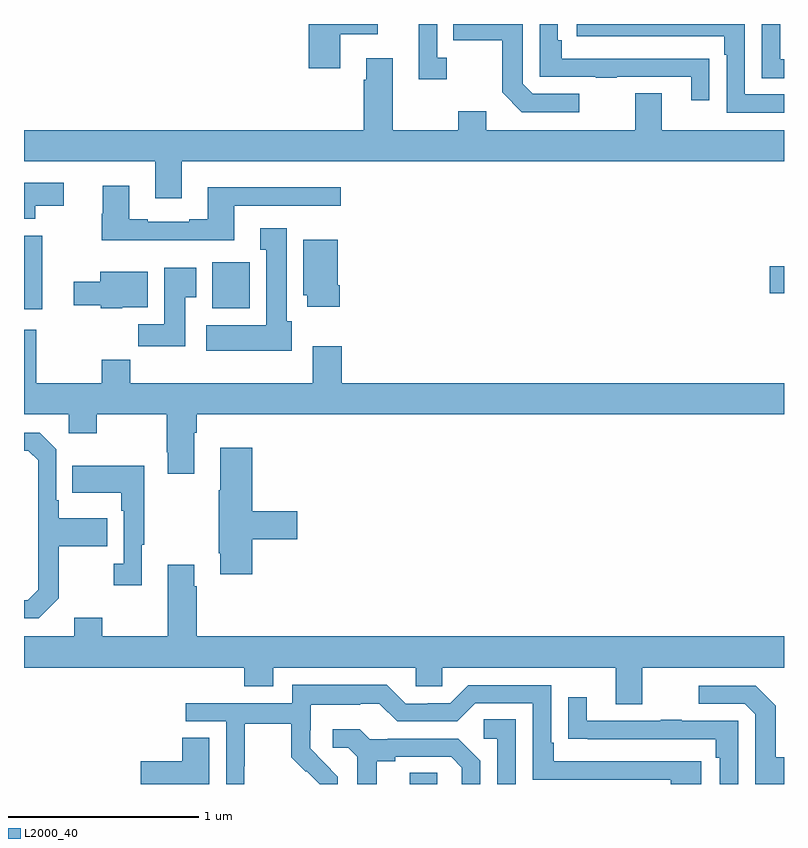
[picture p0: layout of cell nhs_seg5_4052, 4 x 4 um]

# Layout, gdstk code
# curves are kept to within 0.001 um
import gdstk
lib = gdstk.Library(unit=1e-6, precision=1e-09)
def R(c, l, rs):  # rectangles x0, y0, x1, y1
    for r in rs: c.add(gdstk.rectangle(r[:2], r[2:], *l))
def P(c, l, *ps):  # polygons
    for p in ps: c.add(gdstk.Polygon(p, *l))
L2000_40 = (2000, 40)

nhs_seg5_4052 = lib.new_cell('nhs_seg5_4052')
R(nhs_seg5_4052, L2000_40, [(351.029,870.799,351.174,870.857), (349,873.299,349.096,873.685), (349.991,873.302,350.188,873.544), (352.926,873.382,353,873.524)])
P(nhs_seg5_4052, L2000_40, [(353,874.428),(352.794,874.428),(352.794,874.799),(351.909,874.799),(351.909,874.734),(352.685,874.734),(352.685,874.637),(352.698,874.637),(352.698,874.332),(353,874.332)],
  [(351.922,874.431),(351.678,874.431),(351.624,874.485),(351.624,874.799),(351.259,874.799),(351.259,874.714),(351.516,874.714),(351.516,874.441),(351.621,874.335),(351.922,874.335)],
  [(350.665,874.745),(350.863,874.745),(350.863,874.799),(350.498,874.799),(350.498,874.566),(350.665,874.566)],
  [(351.226,874.622),(351.174,874.622),(351.174,874.799),(351.077,874.799),(351.077,874.509),(351.226,874.509)],
  [(353,874.614),(352.98,874.614),(352.98,874.799),(352.884,874.799),(352.884,874.513),(353,874.513)],
  [(352.607,874.616),(352.505,874.616),(352.505,874.617),(351.83,874.617),(351.83,874.714),(351.81,874.714),(351.81,874.799),(351.714,874.799),(351.714,874.521),(352.009,874.521),(352.009,874.516),(352.121,874.516),(352.121,874.521),(352.511,874.521),(352.511,874.398),(352.607,874.398)],
  [(349,874.076),(349.691,874.076),(349.691,873.882),(349.831,873.882),(349.831,874.076),(353,874.076),(353,874.24),(352.357,874.24),(352.357,874.435),(352.217,874.435),(352.217,874.24),(351.433,874.24),(351.433,874.339),(351.286,874.339),(351.286,874.24),(350.941,874.24),(350.941,874.618),(350.801,874.618),(350.801,874.505),(350.789,874.505),(350.789,874.24),(349,874.24)],
  [(349.06,873.842),(349.21,873.842),(349.21,873.964),(349,873.964),(349,873.773),(349.06,873.773)],
  [(350.107,873.843),(350.668,873.843),(350.668,873.94),(349.967,873.94),(349.967,873.772),(349.871,873.772),(349.871,873.759),(349.651,873.759),(349.651,873.772),(349.555,873.772),(349.555,873.949),(349.415,873.949),(349.415,873.801),(349.408,873.801),(349.408,873.662),(350.107,873.662)],
  [(350.41,873.234),(350.383,873.234),(350.383,873.724),(350.243,873.724),(350.243,873.611),(350.276,873.611),(350.276,873.214),(349.959,873.214),(349.959,873.08),(350.41,873.08)],
  [(350.663,873.424),(350.65,873.424),(350.65,873.664),(350.471,873.664),(350.471,873.372),(350.492,873.372),(350.492,873.312),(350.663,873.312)],
  [(349.849,873.361),(349.906,873.361),(349.906,873.517),(349.739,873.517),(349.739,873.22),(349.6,873.22),(349.6,873.102),(349.849,873.102)],
  [(349.518,873.308),(349.651,873.308),(349.651,873.496),(349.4,873.496),(349.4,873.442),(349.263,873.442),(349.263,873.32),(349.404,873.32),(349.404,873.302),(349.518,873.302)],
  [(349.408,873.032),(349.408,872.908),(349.065,872.908),(349.065,873.19),(349,873.19),(349,872.744),(349.236,872.744),(349.236,872.645),(349.383,872.645),(349.383,872.744),(349.75,872.744),(349.75,872.545),(349.757,872.545),(349.757,872.433),(349.897,872.433),(349.897,872.648),(349.91,872.648),(349.91,872.744),(353,872.744),(353,872.908),(350.672,872.908),(350.672,873.103),(350.519,873.103),(350.519,872.908),(349.559,872.908),(349.559,873.032)],
  [(349.183,871.777),(349.183,872.05),(349.439,872.05),(349.439,872.197),(349.183,872.197),(349.183,872.293),(349.17,872.293),(349.17,872.562),(349.083,872.649),(349,872.649),(349,872.553),(349.023,872.553),(349.074,872.502),(349.074,871.821),(349.02,871.767),(349,871.767),(349,871.671),(349.077,871.671)],
  [(350.201,872.087),(350.437,872.087),(350.437,872.234),(350.201,872.234),(350.201,872.569),(350.033,872.569),(350.033,872.345),(350.026,872.345),(350.026,872.014),(350.033,872.014),(350.033,871.902),(350.201,871.902)],
  [(349.621,872.057),(349.633,872.057),(349.633,872.473),(349.255,872.473),(349.255,872.333),(349.512,872.333),(349.512,872.237),(349.524,872.237),(349.524,871.958),(349.473,871.958),(349.473,871.845),(349.621,871.845)],
  [(352.255,871.412),(353,871.412),(353,871.576),(349.91,871.576),(349.91,871.841),(349.897,871.841),(349.897,871.954),(349.757,871.954),(349.757,871.576),(349.413,871.576),(349.413,871.675),(349.265,871.675),(349.265,871.576),(349,871.576),(349,871.412),(350.159,871.412),(350.159,871.313),(350.311,871.313),(350.311,871.412),(351.063,871.412),(351.063,871.314),(351.201,871.314),(351.201,871.412),(352.115,871.412),(352.115,871.218),(352.255,871.218)],
  [(350.16,870.892),(350.163,870.892),(350.163,871.116),(350.407,871.116),(350.407,870.941),(350.484,870.864),(350.487,870.867),(350.556,870.799),(350.652,870.799),(350.652,870.838),(350.506,870.986),(350.506,871.083),(350.508,871.083),(350.508,871.217),(350.771,871.217),(350.771,871.221),(350.871,871.221),(350.964,871.128),(351.279,871.128),(351.375,871.224),(351.678,871.224),(351.678,870.822),(352.403,870.822),(352.403,870.799),(352.564,870.799),(352.564,870.918),(351.787,870.918),(351.787,871.015),(351.774,871.015),(351.774,871.32),(351.339,871.32),(351.243,871.224),(351.125,871.224),(351.125,871.221),(351.009,871.221),(350.909,871.321),(350.412,871.321),(350.412,871.224),(349.851,871.224),(349.851,871.128),(350.064,871.128),(350.064,870.799),(350.16,870.799)],
  [(353,870.939),(352.957,870.939),(352.957,871.211),(352.851,871.317),(352.551,871.317),(352.551,871.221),(352.794,871.221),(352.848,871.167),(352.848,870.799),(353,870.799)],
  [(352.758,871.131),(352.463,871.131),(352.463,871.136),(352.351,871.136),(352.351,871.131),(351.961,871.131),(351.961,871.255),(351.865,871.255),(351.865,871.036),(351.967,871.036),(351.967,871.035),(352.642,871.035),(352.642,870.938),(352.662,870.938),(352.662,870.799),(352.758,870.799)],
  [(351.588,871.139),(351.42,871.139),(351.42,871.038),(351.492,871.038),(351.492,870.799),(351.588,870.799)],
  [(350.857,870.92),(350.953,870.92),(350.953,870.942),(351.248,870.942),(351.305,870.885),(351.305,870.799),(351.402,870.799),(351.402,870.922),(351.286,871.038),(350.914,871.038),(350.914,871.035),(350.82,871.035),(350.768,871.087),(350.625,871.087),(350.625,870.99),(350.706,870.99),(350.753,870.943),(350.753,870.799),(350.857,870.799)],
  [(349.975,871.043),(349.832,871.043),(349.832,870.92),(349.614,870.92),(349.614,870.799),(349.975,870.799)])

lib.write_gds('nhs_seg5_4052.gds')
